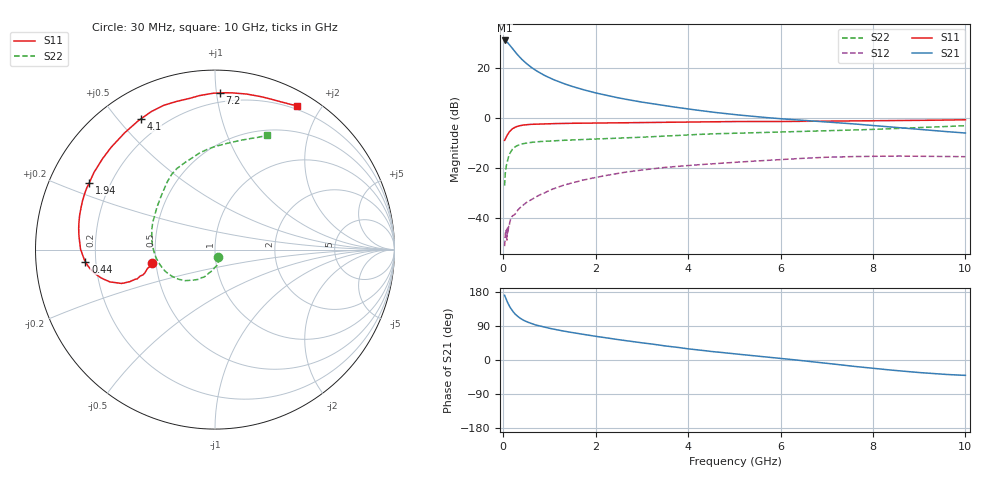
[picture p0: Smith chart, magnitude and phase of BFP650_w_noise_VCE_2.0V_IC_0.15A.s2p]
! Infineon Technologies  Discrete & RF Semiconductors
! BFP650
! VCE =  2.0 V,  IC = 0.15 A
! Common Emitter S-Parameters:  Jan 2016
# GHz  S  MA  R  50
!  f  S11  S21  S12  S22
! GHz  MAG  ANG  MAG  ANG  MAG  ANG  MAG  ANG
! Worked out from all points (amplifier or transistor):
!   229 points, 30 MHz to 10 GHz, reference 50 ohm
!   highest |S21| = 30.9 dB at 30 MHz (marker M1)
!   |S21| within 3 dB of that: start of sweep to 189.9 MHz
!   unconditionally stable (mu >= 1): start of sweep to end of sweep
!   at 280 MHz: K = 1.24, MAG = 28.8 dB, |S12| = -37.6 dB
!   at 1.78 GHz: K = 1.15, MAG = 15.4 dB, |S12| = -24.5 dB
!   at 10 GHz: K = 1.11, MAG = 2.7 dB, |S12| = -15.4 dB
!   lowest NFmin = 1.88 dB at 450 MHz
!   S11 on the Smith chart (normalised r, x): 30 MHz: 0.48, -0.08; 440 MHz: 0.16, -0.05; 1.94 GHz: 0.12, +0.25; 4.1 GHz: 0.12, +0.58; 7.2 GHz: 0.14, +1.02; 10 GHz: 0.16, +1.71
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0.03  0.3596 -168.0  35.14 170.6  0.0028 82.0  0.0448 -68.9
0.06  0.4109 -161.7  33.91 161.7  0.0054 46.5  0.1017 -92.1
0.08  0.4425 -160.5  32.7 155.5  0.0037 65.2  0.1217 -99.2
0.11  0.4942 -159.5  30.66 147.7  0.0063 50.4  0.1639 -111.4
0.15  0.5542 -160.1  27.67 138.7  0.0091 57.6  0.2024 -123.4
0.2  0.612 -162.9  24.24 129.3  0.0113 55.7  0.2399 -133.8
0.26  0.6566 -166.3  20.69 121.0  0.0123 60.9  0.2677 -143.0
0.3  0.6802 -168.5  18.69 116.3  0.014 61.4  0.2814 -148.1
0.34  0.697 -170.4  16.99 112.6  0.0155 62.0  0.2919 -152.2
0.44  0.7255 -174.7  13.73 104.9  0.0187 62.7  0.3097 -160.5
0.6  0.7492 179.8  10.36 96.5  0.0233 64.8  0.3275 -169.8
0.9  0.7668 172.1  7.014 86.4  0.0324 63.0  0.3449 178.8
1.3  0.7802 163.8  4.888 76.5  0.0457 60.9  0.3602 168.5
1.7  0.7911 156.2  3.743 68.2  0.0575 57.3  0.3721 160.2
1.94  0.7931 151.9  3.269 63.6  0.0639 55.2  0.3791 155.7
3.4  0.8195 129.2  1.82 39.0  0.1015 38.5  0.4321 132.4
4.1  0.8372 119.5  1.474 28.2  0.1152 30.7  0.4663 124.0
5.1  0.8525 108.6  1.149 15.1  0.1327 21.2  0.5015 114.0
6.8  0.867 92.7  0.862 -6.0  0.1623 3.9  0.5522 96.7
7.2  0.8731 88.3  0.812 -11.4  0.1673 -0.7  0.5643 93.0
8.4  0.8891 73.7  0.663 -26.7  0.174 -13.7  0.6138 79.2
10  0.9235 60.2  0.503 -40.6  0.1699 -26.2  0.7026 65.6
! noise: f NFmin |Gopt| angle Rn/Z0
0.45  1.88  0.66  -171  0.06
0.9  1.91  0.67  -164  0.07
1.9  2.19  0.7  -149  0.14
2.4  2.45  0.69  -139  0.22
3.5  2.88  0.69  -118  0.56
